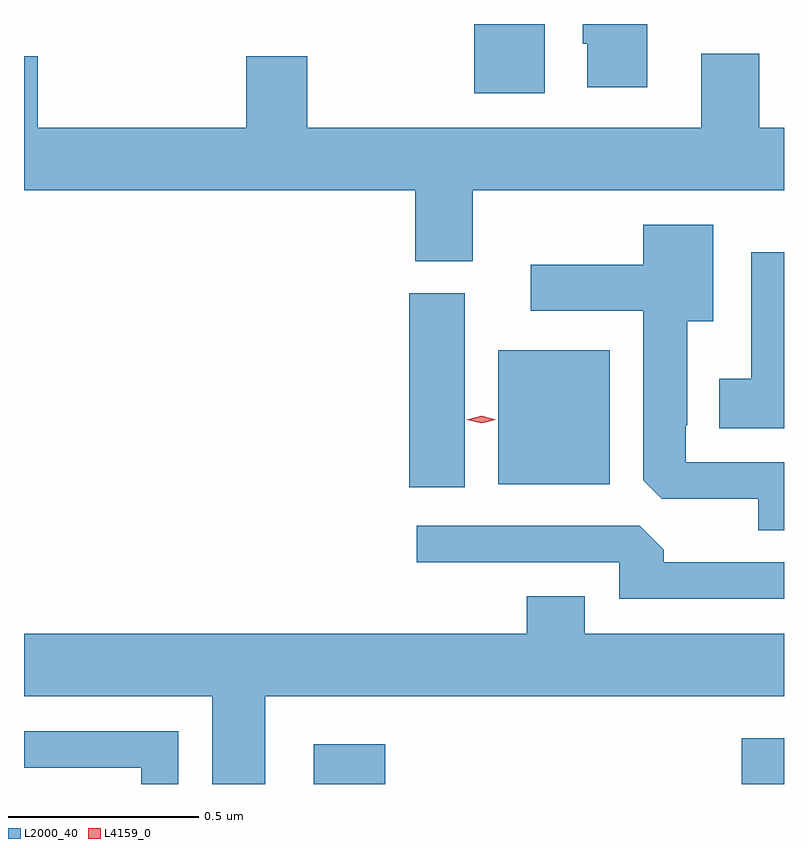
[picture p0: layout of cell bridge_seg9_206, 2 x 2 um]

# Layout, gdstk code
import gdstk
lib = gdstk.Library(unit=1e-6, precision=1e-09)
def R(c, l, rs):  # rectangles x0, y0, x1, y1
    for r in rs: c.add(gdstk.rectangle(r[:2], r[2:], *l))
def P(c, l, *ps):  # polygons
    for p in ps: c.add(gdstk.Polygon(p, *l))
L2000_40 = (2000, 40)
L4159_0 = (4159, 0)

bridge_seg9_206 = lib.new_cell('bridge_seg9_206')
R(bridge_seg9_206, L2000_40, [(167.541,1205.513,167.729,1205.617), (168.667,1205.513,168.778,1205.634), (167.792,1206.294,167.938,1206.804), (168.026,1206.302,168.319,1206.655), (167.963,1207.331,168.148,1207.513)])
P(bridge_seg9_206, L2000_40, [(168.418,1207.513),(168.248,1207.513),(168.248,1207.461),(168.26,1207.461),(168.26,1207.347),(168.418,1207.347)],
  [(167.959,1207.076),(168.778,1207.076),(168.778,1207.24),(168.713,1207.24),(168.713,1207.435),(168.56,1207.435),(168.56,1207.24),(167.523,1207.24),(167.523,1207.428),(167.363,1207.428),(167.363,1207.24),(166.814,1207.24),(166.814,1207.428),(166.778,1207.428),(166.778,1207.076),(167.807,1207.076),(167.807,1206.889),(167.959,1206.889)],
  [(168.778,1206.36),(168.519,1206.36),(168.519,1206.457),(168.523,1206.457),(168.523,1206.731),(168.592,1206.731),(168.592,1206.985),(168.407,1206.985),(168.407,1206.88),(168.111,1206.88),(168.111,1206.758),(168.407,1206.758),(168.407,1206.313),(168.456,1206.264),(168.71,1206.264),(168.71,1206.181),(168.778,1206.181)],
  [(168.778,1206.913),(168.692,1206.913),(168.692,1206.58),(168.608,1206.58),(168.608,1206.449),(168.778,1206.449)],
  [(168.778,1206.096),(168.461,1206.096),(168.461,1206.13),(168.399,1206.192),(167.811,1206.192),(167.811,1206.096),(168.345,1206.096),(168.345,1206),(168.778,1206)],
  [(167.413,1205.744),(168.778,1205.744),(168.778,1205.908),(168.253,1205.908),(168.253,1206.007),(168.101,1206.007),(168.101,1205.908),(166.778,1205.908),(166.778,1205.744),(167.273,1205.744),(167.273,1205.513),(167.413,1205.513)],
  [(167.184,1205.652),(166.778,1205.652),(166.778,1205.556),(167.087,1205.556),(167.087,1205.513),(167.184,1205.513)])
P(bridge_seg9_206, L4159_0, [(167.982,1206.462),(167.943,1206.472),(167.943,1206.472),(167.943,1206.472),(167.982,1206.482),(168.02,1206.472),(168.02,1206.472),(168.02,1206.472)])

lib.write_gds('bridge_seg9_206.gds')
